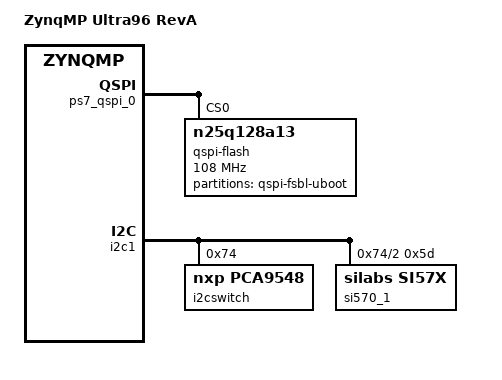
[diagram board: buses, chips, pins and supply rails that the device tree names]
/*
 * ZynqMP Ultra96 board device tree
 *
 * Copyright (c) 2019, Xilinx Inc
 * All rights reserved.
 *
 * Redistribution and use in source and binary forms, with or without
 * modification, are permitted provided that the following conditions are met:
 *     * Redistributions of source code must retain the above copyright
 *       notice, this list of conditions and the following disclaimer.
 *     * Redistributions in binary form must reproduce the above copyright
 *       notice, this list of conditions and the following disclaimer in the
 *       documentation and/or other materials provided with the distribution.
 *     * Neither the name of the <organization> nor the
 *       names of its contributors may be used to endorse or promote products
 *       derived from this software without specific prior written permission.
 *
 * THIS SOFTWARE IS PROVIDED BY THE COPYRIGHT HOLDERS AND CONTRIBUTORS "AS IS" AND
 * ANY EXPRESS OR IMPLIED WARRANTIES, INCLUDING, BUT NOT LIMITED TO, THE IMPLIED
 * WARRANTIES OF MERCHANTABILITY AND FITNESS FOR A PARTICULAR PURPOSE ARE
 * DISCLAIMED. IN NO EVENT SHALL <COPYRIGHT HOLDER> BE LIABLE FOR ANY
 * DIRECT, INDIRECT, INCIDENTAL, SPECIAL, EXEMPLARY, OR CONSEQUENTIAL DAMAGES
 * (INCLUDING, BUT NOT LIMITED TO, PROCUREMENT OF SUBSTITUTE GOODS OR SERVICES;
 * LOSS OF USE, DATA, OR PROFITS; OR BUSINESS INTERRUPTION) HOWEVER CAUSED AND
 * ON ANY THEORY OF LIABILITY, WHETHER IN CONTRACT, STRICT LIABILITY, OR TORT
 * (INCLUDING NEGLIGENCE OR OTHERWISE) ARISING IN ANY WAY OUT OF THE USE OF THIS
 * SOFTWARE, EVEN IF ADVISED OF THE POSSIBILITY OF SUCH DAMAGE.
 */

#include "zynqmp.dtsh"

/dts-v1/;

#include "zynqmp-arm.dtsi"
#include "zynqmp-memory-regions.dtsi"

/ {
	model = "ZynqMP Ultra96 RevA";
	compatible = "xlnx,zynqmp-ultra96", "xlnx,zynqmp";
};

&ps7_qspi_0 {
	qspi-flash@0 {
		compatible = "n25q128a13";
		spi-max-frequency = <108000000>;
		reg = <0>;
		partition@0 {
			label = "qspi-fsbl-uboot";
			reg = <0x0 0x1000000>;
		};
	};
};

/* Add I2C devices */

/* SPI devices are WiFi/Bluetooth chip.
 * Add this if QEMU supports it
 */

/* Add DP clock when it is finalised */

/* Hack in the si570 clock for DP testing
 * This is not actually on the board
 */

&amba {
	i2c1: i2c1@0xFF030000 {
		#address-cells = <1>;
		#size-cells = <0>;
		clocks = <I2C_CLOCKS>;
		compatible = "xlnx,ps7-i2c-1.00.a", "cdns,i2c-r1p10";
		interrupts = <I2C1_IRQ_0>;
		reg = <BASE_ADDR(I2C1) 0x1000>;
		i2cswitch@74 {
			#address-cells = <1>;
			#size-cells = <0>;
			compatible = "nxp,pca9548";
			reg = <0x74>;
			i2c@2 {
				#address-cells = <1>;
				#size-cells = <0>;
				reg = <2>;
				si570_1: clock-generator@5d {
					compatible = "silabs,si57x";
					reg = <0x5d>;
					temperature-stability=<50>;
				};
			};
		};
	};
};

&iou_slcr_0 {
	mio-bank0-1.8v = <1>;
	mio-bank1-1.8v = <1>;
	mio-bank2-1.8v = <1>;
};
